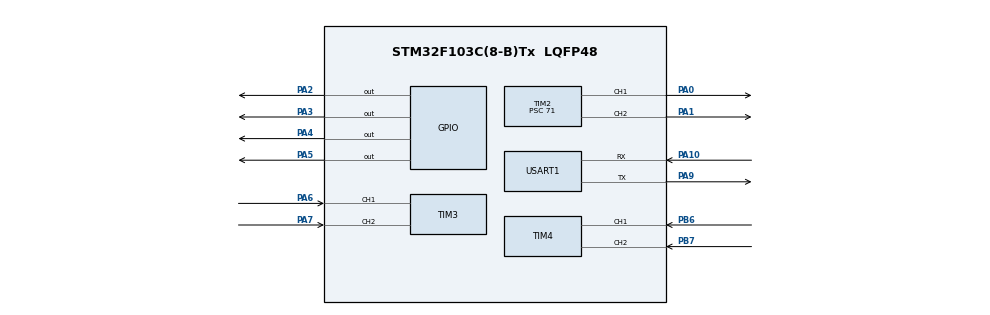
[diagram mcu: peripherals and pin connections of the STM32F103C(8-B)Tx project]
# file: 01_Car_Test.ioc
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Mcu.Family=STM32F1
Mcu.Name=STM32F103C(8-B)Tx
Mcu.Package=LQFP48
NVIC.PriorityGroup=NVIC_PRIORITYGROUP_4
PA0-WKUP.Signal=S_TIM2_CH1_ETR
PA1.Signal=S_TIM2_CH2
PA10.Mode=Asynchronous
PA10.Signal=USART1_RX
PA13.Mode=Serial_Wire
PA13.Signal=SYS_JTMS-SWDIO
PA14.Mode=Serial_Wire
PA14.Signal=SYS_JTCK-SWCLK
PA2.Signal=GPIO_Output
PA3.Signal=GPIO_Output
PA4.Signal=GPIO_Output
PA5.Signal=GPIO_Output
PA6.Signal=S_TIM3_CH1
PA7.Signal=S_TIM3_CH2
PA9.Mode=Asynchronous
PA9.Signal=USART1_TX
PB6.Signal=S_TIM4_CH1
PB7.Signal=S_TIM4_CH2
ProjectManager.HeapSize=0x200
ProjectManager.StackSize=0x400
ProjectManager.TargetToolchain=STM32CubeIDE
RCC.APB1Freq_Value=8000000
RCC.APB2Freq_Value=8000000
SH.S_TIM2_CH1_ETR.0=TIM2_CH1,PWM Generation1 CH1
SH.S_TIM2_CH2.0=TIM2_CH2,PWM Generation2 CH2
SH.S_TIM3_CH1.0=TIM3_CH1,Encoder_Interface
SH.S_TIM3_CH2.0=TIM3_CH2,Encoder_Interface
SH.S_TIM4_CH1.0=TIM4_CH1,Encoder_Interface
SH.S_TIM4_CH2.0=TIM4_CH2,Encoder_Interface
TIM2.Channel-PWM\ Generation1\ CH1=TIM_CHANNEL_1
TIM2.Channel-PWM\ Generation2\ CH2=TIM_CHANNEL_2
TIM2.Period=999
TIM2.Prescaler=71
USART1.VirtualMode=VM_ASYNC
board=custom

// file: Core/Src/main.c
/* USER CODE BEGIN Header */
/**
  ******************************************************************************
  * @file           : main.c
  * @brief          : Main program body
  ******************************************************************************
  * @attention
  *
  * Copyright (c) 2026 STMicroelectronics.
  * All rights reserved.
  *
  * This software is licensed under terms that can be found in the LICENSE file
  * in the root directory of this software component.
  * If no LICENSE file comes with this software, it is provided AS-IS.
  *
  ******************************************************************************
  */
/* USER CODE END Header */
#include "main.h"

TIM_HandleTypeDef htim2;
TIM_HandleTypeDef htim3;
TIM_HandleTypeDef htim4;

UART_HandleTypeDef huart1;

void SystemClock_Config(void);
static void MX_GPIO_Init(void);
static void MX_TIM2_Init(void);
static void MX_TIM3_Init(void);
static void MX_TIM4_Init(void);
static void MX_USART1_UART_Init(void);

int main(void)
{

  /* MCU Configuration--------------------------------------------------------*/

  /* Reset of all peripherals, Initializes the Flash interface and the Systick. */
  HAL_Init();

  /* Configure the system clock */
  SystemClock_Config();

  /* Initialize all configured peripherals */
  MX_GPIO_Init();
  MX_TIM2_Init();
  MX_TIM3_Init();
  MX_TIM4_Init();
  MX_USART1_UART_Init();
  /* USER CODE BEGIN 2 */
  // 启动左轮PWM（TIM2_CH1）
  HAL_TIM_PWM_Start(&htim2, TIM_CHANNEL_1);
  // 启动右轮PWM（TIM2_CH2）
  HAL_TIM_PWM_Start(&htim2, TIM_CHANNEL_2);

  // 启动编码器（开环测试暂不读取，但先启动避免引脚冲突）
  HAL_TIM_Encoder_Start(&htim3, TIM_CHANNEL_ALL);
  HAL_TIM_Encoder_Start(&htim4, TIM_CHANNEL_ALL);

  // 左轮方向：正转（AIN1高，AIN2低）  PA2, PA3
  HAL_GPIO_WritePin(GPIOA, GPIO_PIN_2, GPIO_PIN_SET);
  HAL_GPIO_WritePin(GPIOA, GPIO_PIN_3, GPIO_PIN_RESET);
  // 右轮方向：正转（BIN1高，BIN2低）  PA4, PA5
  HAL_GPIO_WritePin(GPIOA, GPIO_PIN_4, GPIO_PIN_SET);
  HAL_GPIO_WritePin(GPIOA, GPIO_PIN_5, GPIO_PIN_RESET);

  // 初始占空比30%
  __HAL_TIM_SET_COMPARE(&htim2, TIM_CHANNEL_1, 300);
  __HAL_TIM_SET_COMPARE(&htim2, TIM_CHANNEL_2, 300);

  /* USER CODE END 2 */

  /* Infinite loop */
  /* USER CODE BEGIN WHILE */
  while (1)
  {
	  // === 两个轮子正转，从慢到快 ===
	   for (int i = 200; i <= 600; i += 100)
	   {
	     __HAL_TIM_SET_COMPARE(&htim2, TIM_CHANNEL_1, i);
	     __HAL_TIM_SET_COMPARE(&htim2, TIM_CHANNEL_2, i);
	     HAL_Delay(2000);
	   }

	   // === 停止2秒 ===
	   __HAL_TIM_SET_COMPARE(&htim2, TIM_CHANNEL_1, 0);
	   __HAL_TIM_SET_COMPARE(&htim2, TIM_CHANNEL_2, 0);
	   HAL_Delay(2000);

	   // === 两个轮子反转，从慢到快 ===
	   HAL_GPIO_WritePin(GPIOA, GPIO_PIN_2, GPIO_PIN_RESET);
	   HAL_GPIO_WritePin(GPIOA, GPIO_PIN_3, GPIO_PIN_SET);
	   HAL_GPIO_WritePin(GPIOA, GPIO_PIN_4, GPIO_PIN_RESET);
	   HAL_GPIO_WritePin(GPIOA, GPIO_PIN_5, GPIO_PIN_SET);

	   for (int i = 200; i <= 600; i += 100)
	   {
	     __HAL_TIM_SET_COMPARE(&htim2, TIM_CHANNEL_1, i);
	     __HAL_TIM_SET_COMPARE(&htim2, TIM_CHANNEL_2, i);
	     HAL_Delay(2000);
	   }

	   // === 停止2秒，然后切回正转方向 ===
	   __HAL_TIM_SET_COMPARE(&htim2, TIM_CHANNEL_1, 0);
	   __HAL_TIM_SET_COMPARE(&htim2, TIM_CHANNEL_2, 0);
	   HAL_Delay(2000);

	   HAL_GPIO_WritePin(GPIOA, GPIO_PIN_2, GPIO_PIN_SET);
	   HAL_GPIO_WritePin(GPIOA, GPIO_PIN_3, GPIO_PIN_RESET);
	   HAL_GPIO_WritePin(GPIOA, GPIO_PIN_4, GPIO_PIN_SET);
	   HAL_GPIO_WritePin(GPIOA, GPIO_PIN_5, GPIO_PIN_RESET);
    /* USER CODE END WHILE */

  }
}

void SystemClock_Config(void)
{
  RCC_OscInitTypeDef RCC_OscInitStruct = {0};
  RCC_ClkInitTypeDef RCC_ClkInitStruct = {0};

  /** Initializes the RCC Oscillators according to the specified parameters
  * in the RCC_OscInitTypeDef structure.
  */
  RCC_OscInitStruct.OscillatorType = RCC_OSCILLATORTYPE_HSI;
  RCC_OscInitStruct.HSIState = RCC_HSI_ON;
  RCC_OscInitStruct.HSICalibrationValue = RCC_HSICALIBRATION_DEFAULT;
  RCC_OscInitStruct.PLL.PLLState = RCC_PLL_NONE;
  if (HAL_RCC_OscConfig(&RCC_OscInitStruct) != HAL_OK)
  {
    Error_Handler();
  }

  /** Initializes the CPU, AHB and APB buses clocks
  */
  RCC_ClkInitStruct.ClockType = RCC_CLOCKTYPE_HCLK|RCC_CLOCKTYPE_SYSCLK
                              |RCC_CLOCKTYPE_PCLK1|RCC_CLOCKTYPE_PCLK2;
  RCC_ClkInitStruct.SYSCLKSource = RCC_SYSCLKSOURCE_HSI;
  RCC_ClkInitStruct.AHBCLKDivider = RCC_SYSCLK_DIV1;
  RCC_ClkInitStruct.APB1CLKDivider = RCC_HCLK_DIV1;
  RCC_ClkInitStruct.APB2CLKDivider = RCC_HCLK_DIV1;

  if (HAL_RCC_ClockConfig(&RCC_ClkInitStruct, FLASH_LATENCY_0) != HAL_OK)
  {
    Error_Handler();
  }
}

static void MX_TIM2_Init(void)
{

  TIM_MasterConfigTypeDef sMasterConfig = {0};
  TIM_OC_InitTypeDef sConfigOC = {0};

  htim2.Instance = TIM2;
  htim2.Init.Prescaler = 71;
  htim2.Init.CounterMode = TIM_COUNTERMODE_UP;
  htim2.Init.Period = 999;
  htim2.Init.ClockDivision = TIM_CLOCKDIVISION_DIV1;
  htim2.Init.AutoReloadPreload = TIM_AUTORELOAD_PRELOAD_DISABLE;
  if (HAL_TIM_PWM_Init(&htim2) != HAL_OK)
  {
    Error_Handler();
  }
  sMasterConfig.MasterOutputTrigger = TIM_TRGO_RESET;
  sMasterConfig.MasterSlaveMode = TIM_MASTERSLAVEMODE_DISABLE;
  if (HAL_TIMEx_MasterConfigSynchronization(&htim2, &sMasterConfig) != HAL_OK)
  {
    Error_Handler();
  }
  sConfigOC.OCMode = TIM_OCMODE_PWM1;
  sConfigOC.Pulse = 0;
  sConfigOC.OCPolarity = TIM_OCPOLARITY_HIGH;
  sConfigOC.OCFastMode = TIM_OCFAST_DISABLE;
  if (HAL_TIM_PWM_ConfigChannel(&htim2, &sConfigOC, TIM_CHANNEL_1) != HAL_OK)
  {
    Error_Handler();
  }
  if (HAL_TIM_PWM_ConfigChannel(&htim2, &sConfigOC, TIM_CHANNEL_2) != HAL_OK)
  {
    Error_Handler();
  }
  HAL_TIM_MspPostInit(&htim2);

}

static void MX_TIM3_Init(void)
{

  TIM_Encoder_InitTypeDef sConfig = {0};
  TIM_MasterConfigTypeDef sMasterConfig = {0};

  htim3.Instance = TIM3;
  htim3.Init.Prescaler = 0;
  htim3.Init.CounterMode = TIM_COUNTERMODE_UP;
  htim3.Init.Period = 65535;
  htim3.Init.ClockDivision = TIM_CLOCKDIVISION_DIV1;
  htim3.Init.AutoReloadPreload = TIM_AUTORELOAD_PRELOAD_DISABLE;
  sConfig.EncoderMode = TIM_ENCODERMODE_TI1;
  sConfig.IC1Polarity = TIM_ICPOLARITY_RISING;
  sConfig.IC1Selection = TIM_ICSELECTION_DIRECTTI;
  sConfig.IC1Prescaler = TIM_ICPSC_DIV1;
  sConfig.IC1Filter = 0;
  sConfig.IC2Polarity = TIM_ICPOLARITY_RISING;
  sConfig.IC2Selection = TIM_ICSELECTION_DIRECTTI;
  sConfig.IC2Prescaler = TIM_ICPSC_DIV1;
  sConfig.IC2Filter = 0;
  if (HAL_TIM_Encoder_Init(&htim3, &sConfig) != HAL_OK)
  {
    Error_Handler();
  }
  sMasterConfig.MasterOutputTrigger = TIM_TRGO_RESET;
  sMasterConfig.MasterSlaveMode = TIM_MASTERSLAVEMODE_DISABLE;
  if (HAL_TIMEx_MasterConfigSynchronization(&htim3, &sMasterConfig) != HAL_OK)
  {
    Error_Handler();
  }

}

static void MX_TIM4_Init(void)
{

  TIM_Encoder_InitTypeDef sConfig = {0};
  TIM_MasterConfigTypeDef sMasterConfig = {0};

  htim4.Instance = TIM4;
  htim4.Init.Prescaler = 0;
  htim4.Init.CounterMode = TIM_COUNTERMODE_UP;
  htim4.Init.Period = 65535;
  htim4.Init.ClockDivision = TIM_CLOCKDIVISION_DIV1;
  htim4.Init.AutoReloadPreload = TIM_AUTORELOAD_PRELOAD_DISABLE;
  sConfig.EncoderMode = TIM_ENCODERMODE_TI1;
  sConfig.IC1Polarity = TIM_ICPOLARITY_RISING;
  sConfig.IC1Selection = TIM_ICSELECTION_DIRECTTI;
  sConfig.IC1Prescaler = TIM_ICPSC_DIV1;
  sConfig.IC1Filter = 0;
  sConfig.IC2Polarity = TIM_ICPOLARITY_RISING;
  sConfig.IC2Selection = TIM_ICSELECTION_DIRECTTI;
  sConfig.IC2Prescaler = TIM_ICPSC_DIV1;
  sConfig.IC2Filter = 0;
  if (HAL_TIM_Encoder_Init(&htim4, &sConfig) != HAL_OK)
  {
    Error_Handler();
  }
  sMasterConfig.MasterOutputTrigger = TIM_TRGO_RESET;
  sMasterConfig.MasterSlaveMode = TIM_MASTERSLAVEMODE_DISABLE;
  if (HAL_TIMEx_MasterConfigSynchronization(&htim4, &sMasterConfig) != HAL_OK)
  {
    Error_Handler();
  }

}

static void MX_USART1_UART_Init(void)
{

  huart1.Instance = USART1;
  huart1.Init.BaudRate = 115200;
  huart1.Init.WordLength = UART_WORDLENGTH_8B;
  huart1.Init.StopBits = UART_STOPBITS_1;
  huart1.Init.Parity = UART_PARITY_NONE;
  huart1.Init.Mode = UART_MODE_TX_RX;
  huart1.Init.HwFlowCtl = UART_HWCONTROL_NONE;
  huart1.Init.OverSampling = UART_OVERSAMPLING_16;
  if (HAL_UART_Init(&huart1) != HAL_OK)
  {
    Error_Handler();
  }

}

static void MX_GPIO_Init(void)
{
  GPIO_InitTypeDef GPIO_InitStruct = {0};

  /* GPIO Ports Clock Enable */
  __HAL_RCC_GPIOA_CLK_ENABLE();
  __HAL_RCC_GPIOB_CLK_ENABLE();

  /*Configure GPIO pin Output Level */
  HAL_GPIO_WritePin(GPIOA, GPIO_PIN_2|GPIO_PIN_3|GPIO_PIN_4|GPIO_PIN_5, GPIO_PIN_RESET);

  /*Configure GPIO pins : PA2 PA3 PA4 PA5 */
  GPIO_InitStruct.Pin = GPIO_PIN_2|GPIO_PIN_3|GPIO_PIN_4|GPIO_PIN_5;
  GPIO_InitStruct.Mode = GPIO_MODE_OUTPUT_PP;
  GPIO_InitStruct.Pull = GPIO_NOPULL;
  GPIO_InitStruct.Speed = GPIO_SPEED_FREQ_LOW;
  HAL_GPIO_Init(GPIOA, &GPIO_InitStruct);

}

void Error_Handler(void)
{
  __disable_irq();
  while (1)
  {
  }
}
